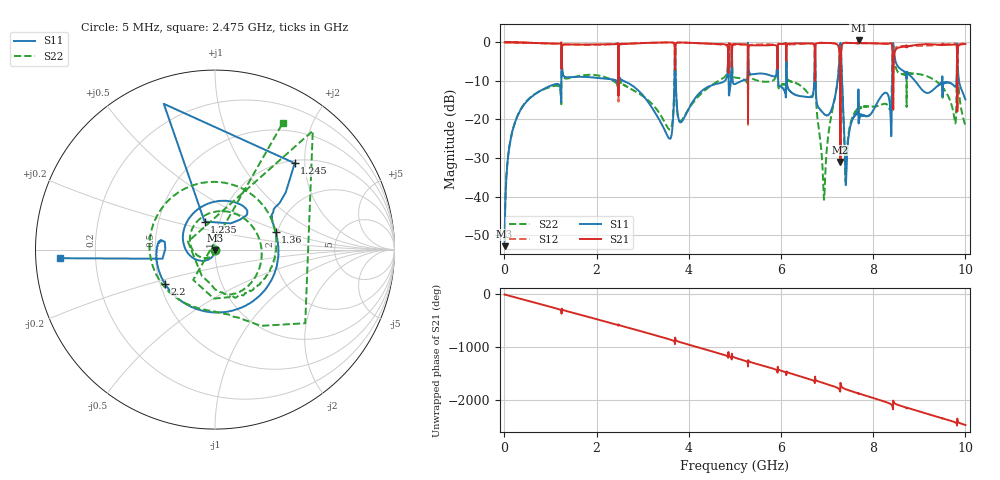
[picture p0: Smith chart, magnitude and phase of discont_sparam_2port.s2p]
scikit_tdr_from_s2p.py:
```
import sys
import os
import skrf
import matplotlib.pyplot as plt
skrf.stylely()

model_path = os.path.normcase(os.path.dirname(__file__))
network_filename = os.path.join(model_path,  'discont_sparam_2port.s2p')

network = skrf.Network(network_filename)
network_dc = network.extrapolate_to_dc(kind='linear')

plt.figure()
plt.title("Time Domain Reflectometry")
network_dc.s11.plot_z_time_step(window='hamming', label="impedance")
plt.xlim((0, 2))

plt.tight_layout()
plt.show()
```
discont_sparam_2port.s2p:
#  Hz  S  RI  R  50
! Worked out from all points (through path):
!   2000 points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, 5 MHz to 10 GHz, reference 50 ohm
!   highest |S21| = 0.46 dB at 7.685 GHz (marker M1); lowest = -31.0 dB at 7.29 GHz (marker M2)
!   lowest |S11| = -52.8 dB at 5 MHz (marker M3), VSWR 1.00, Z = 50 - j0.229 ohm
!   |S11| at or under -10 dB: start of sweep to 1.237 GHz; 2.577 GHz to 3.689 GHz (1.112 GHz wide, 35.5 % of centre); 7.325 GHz to 8.411 GHz (1.087 GHz wide, 13.8 % of centre)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
!   |S22| runs from -51.4 to -0.2 dB; largest |S21 - S12| = 0.066
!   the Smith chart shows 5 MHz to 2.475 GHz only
!   S11 on the Smith chart (normalised r, x): 5 MHz: 1.00, -0.00; 1.235 GHz: 0.85, +0.27; 1.245 GHz: 1.06, +1.78; 1.36 GHz: 1.96, +0.43; 2.2 GHz: 0.53, -0.23; 2.475 GHz: 0.07, -0.03
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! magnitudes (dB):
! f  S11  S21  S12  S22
! 5 MHz  -52.8  0.0  0.0  -51.4
! 1.235 GHz  -15.6  -0.2  -0.1  -16.1
! 1.245 GHz  -3.7  -2.6  -2.6  -3.8
! 1.36 GHz  -9.1  -0.6  -0.5  -9.4
! 2.2 GHz  -9.4  -0.6  -0.6  -9.1
! 2.475 GHz  -1.2  -13.9  -15.4  -1.9
! 5.005 GHz  -10.8  -0.5  -0.6  -9.2
! 6.935 GHz  -18.6  -0.2  -0.1  -40.8
! 7.29 GHz  -0.2  -31.0  -30.9  -0.2
! 7.685 GHz  -21.0  0.5  0.2  -19.2
! 10 GHz  -14.8  -0.5  -0.3  -21.5
